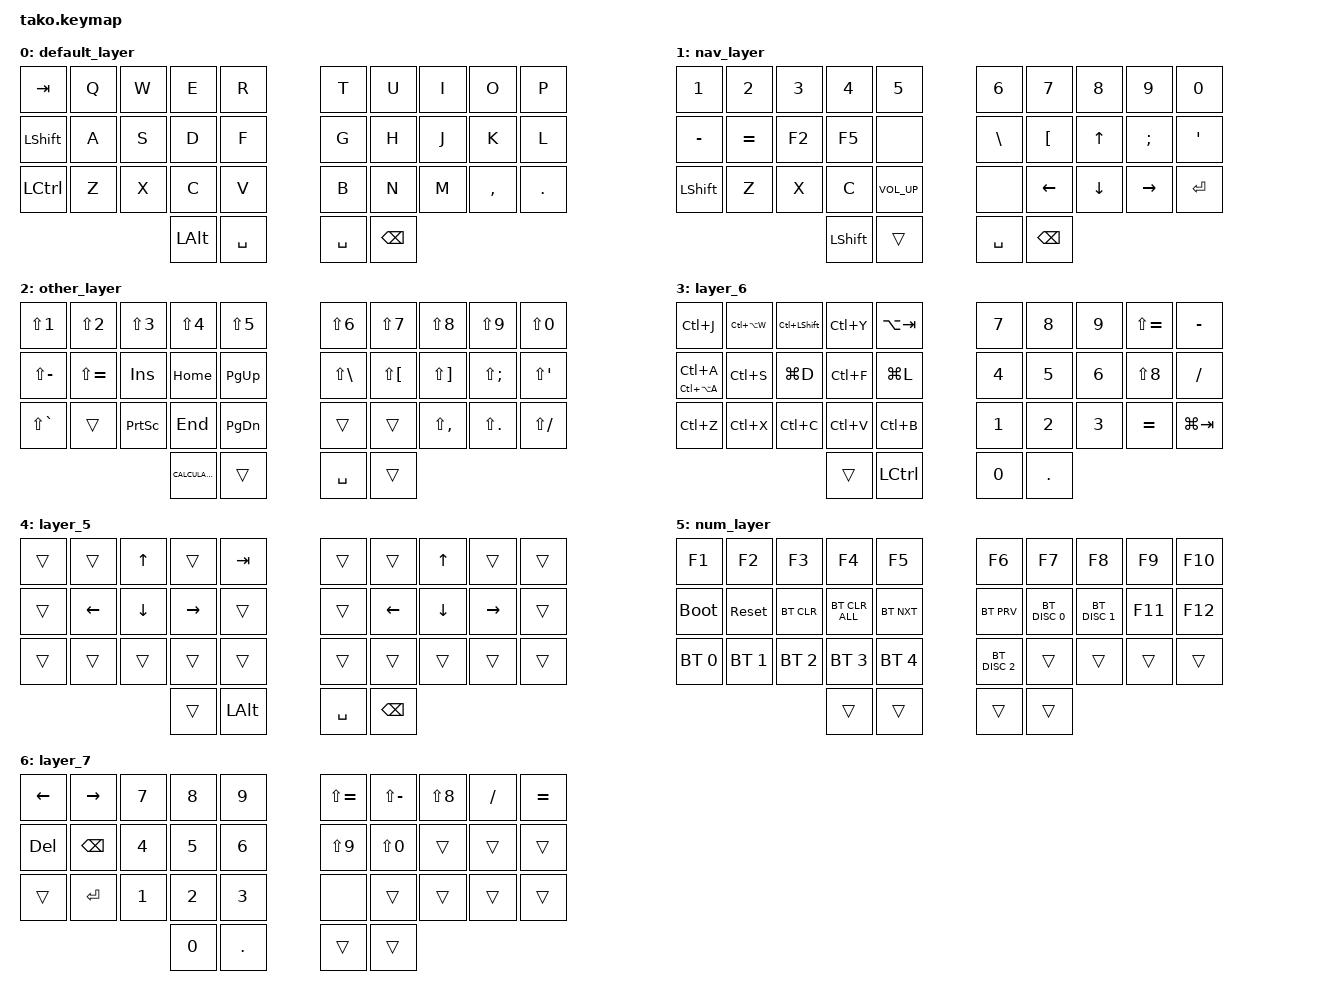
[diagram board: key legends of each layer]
/*
 * Copyright (c) 2020 The ZMK Contributors
 *
 * SPDX-License-Identifier: MIT
 */

#include <behaviors.dtsi>
#include <dt-bindings/zmk/bt.h>
#include <dt-bindings/zmk/keys.h>

#define NAV_L 1
#define OTHER_L 2
#define NUM_L 3
#define SYM_L 4

// Using layer taps on thumbs, having quick tap as well helps w/ repeating space/backspace

&lt {
    quick_tap_ms = <200>;
    flavor = "tap-preferred";
};

/ {
    behaviors {
        hm: homerow_mods {
            compatible = "zmk,behavior-hold-tap";
            label = "homerow mods";
            #binding-cells = <2>;
            tapping_term_ms = <200>;
            flavor = "tap-preferred";
            bindings = <&kp>, <&kp>;
        };
    };

    combos {
        compatible = "zmk,combos";

        esc {
            bindings = <&kp ESC>;
            key-positions = <0 1>;
        };

        Layer {
            bindings = <&tog 1>;
            key-positions = <9 8>;
        };
    };

    macros {
        key: key {
            compatible = "zmk,behavior-macro";
            #binding-cells = <0>;
            bindings = <&kp LS(C) &kp H &kp L &kp DOT &kp N8 &kp N8 &kp N0 &kp N6 &kp N0 &kp N2 &kp LS(N7) &kp LS(N8) &kp LS(N9) &kp ENTER>;
            label = "KEY";
        };
    };

    keymap {
        compatible = "zmk,keymap";

        default_layer {
            bindings = <
&kp TAB    &kp Q  &kp W  &kp E     &kp R        &kp T      &kp U          &kp I  &kp O      &kp P
&kp LSHFT  &kp A  &kp S  &kp D     &kp F        &kp G      &kp H          &kp J  &kp K      &kp L
&kp LCTRL  &kp Z  &kp X  &kp C     &kp V        &kp B      &kp N          &kp M  &kp COMMA  &kp DOT
                         &kp LALT  &kp SPACE    &kp SPACE  &kp BACKSPACE
            >;
        };

        nav_layer {
            bindings = <
&kp NUMBER_1    &kp NUMBER_2  &kp NUMBER_3  &kp NUMBER_4  &kp N5          &kp NUMBER_6  &kp N7          &kp N8          &kp N9           &kp N0
&kp MINUS       &kp EQUAL     &kp F2        &kp F5        &none           &kp BSLH      &kp LBKT        &kp UP_ARROW    &kp SEMI         &kp APOS
&kp LEFT_SHIFT  &kp Z         &kp X         &kp C         &kp C_VOL_UP    &none         &kp LEFT_ARROW  &kp DOWN_ARROW  &kp RIGHT_ARROW  &kp ENTER
                                            &kp LSHFT     &trans          &kp SPACE     &kp BACKSPACE
            >;
        };

        other_layer {
            bindings = <
&kp LS(N1)     &kp LS(N2)     &kp LS(N3)       &kp LS(N4)        &kp LS(N5)     &kp LS(N6)    &kp LS(N7)    &kp LS(N8)     &kp LS(N9)    &kp LS(N0)
&kp LS(MINUS)  &kp LS(EQUAL)  &kp INSERT       &kp HOME          &kp PAGE_UP    &kp LS(BSLH)  &kp LS(LBKT)  &kp LS(RBKT)   &kp LS(SEMI)  &kp LS(APOS)
&kp LS(GRAVE)  &trans         &kp PRINTSCREEN  &kp END           &kp PG_DN      &trans        &trans        &kp LS(COMMA)  &kp LS(DOT)   &kp LS(FSLH)
                                               &kp K_CALCULATOR  &trans         &kp SPACE     &trans
            >;
        };

        layer_6 {
            bindings = <
&kp LC(J)            &kp LC(LA(W))  &kp LC(LSHFT)  &kp LC(Y)  &kp LA(TAB)    &kp N7  &kp N8   &kp N9  &kp LS(EQUAL)  &kp MINUS
&mt LC(LA(A)) LC(A)  &kp LC(S)      &kp LG(D)      &kp LC(F)  &kp LG(L)      &kp N4  &kp N5   &kp N6  &kp LS(N8)     &kp FSLH
&kp LC(Z)            &kp LC(X)      &kp LC(C)      &kp LC(V)  &kp LC(B)      &kp N1  &kp N2   &kp N3  &kp EQUAL      &kp LG(TAB)
                                                   &trans     &kp LCTRL      &kp N0  &kp DOT
            >;
        };

        layer_5 {
            bindings = <
&trans  &trans    &kp UP    &trans     &kp TAB         &trans     &trans         &kp UP    &trans     &trans
&trans  &kp LEFT  &kp DOWN  &kp RIGHT  &trans          &trans     &kp LEFT       &kp DOWN  &kp RIGHT  &trans
&trans  &trans    &trans    &trans     &trans          &trans     &trans         &trans    &trans     &trans
                            &trans     &kp LEFT_ALT    &kp SPACE  &kp BACKSPACE
            >;
        };

        num_layer {
            bindings = <
&kp F1        &kp F2        &kp F3        &kp F4          &kp F5          &kp F6         &kp F7         &kp F8         &kp F9   &kp F10
&bootloader   &sys_reset    &bt BT_CLR    &bt BT_CLR_ALL  &bt BT_NXT      &bt BT_PRV     &bt BT_DISC 0  &bt BT_DISC 1  &kp F11  &kp F12
&bt BT_SEL 0  &bt BT_SEL 1  &bt BT_SEL 2  &bt BT_SEL 3    &bt BT_SEL 4    &bt BT_DISC 2  &trans         &trans         &trans   &trans
                                          &trans          &trans          &trans         &trans
            >;
        };

        layer_7 {
            bindings = <
&kp LEFT  &kp RIGHT  &kp N7  &kp N8  &kp N9     &kp LS(EQUAL)  &kp LS(MINUS)  &kp LS(N8)  &kp FSLH  &kp EQUAL
&kp DEL   &kp BSPC   &kp N4  &kp N5  &kp N6     &kp LS(N9)     &kp LS(N0)     &trans      &trans    &trans
&trans    &kp ENTER  &kp N1  &kp N2  &kp N3     &none          &trans         &trans      &trans    &trans
                             &kp N0  &kp DOT    &trans         &trans
            >;
        };
    };
};
